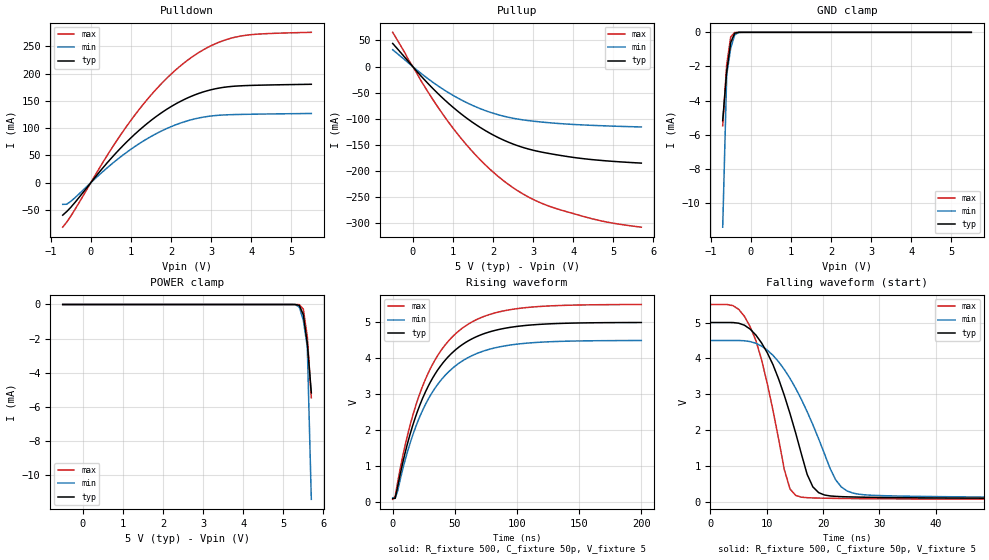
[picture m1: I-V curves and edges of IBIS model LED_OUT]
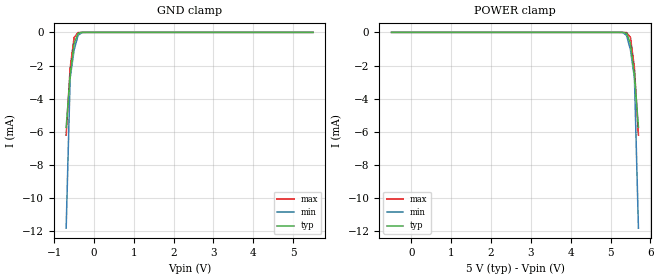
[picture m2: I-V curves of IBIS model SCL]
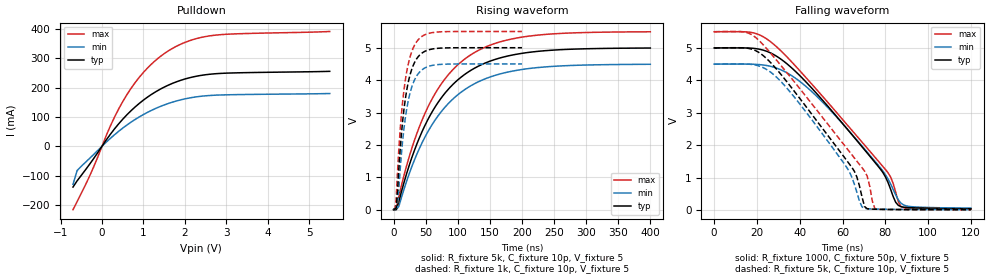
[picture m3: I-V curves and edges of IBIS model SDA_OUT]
|   NXP Semiconductors Inc.
|   IBIS model of PCA9685
[IBIS Ver]   3.2
[Comment Char]   |_char
[File name]   pca9685_5v.ibs
[File Rev]   1.0
[Date]   Nov 3, 2008 12:19:04 PM
[Source]
Generated by Seshadri Venkataramanan using IbisToolKit at Tempe, AZ
[Notes]
[Disclaimer]
(C) Copyright 2007 NXP Semiconductors
All rights reserved
NXP Semiconductors (NXP) does not warrant that this model and any other
accompanying information (Model) accurately or fully represents the
operating characteristics and specifications of the semiconductor
products to which the Model relates.  Moreover, the Model is furnished
on an "as is" and with "all faults" basis, and without support or
warranty of any kind.  NXP disclaims all warranties, whether expressed
or implied or statutory, including without limitation all implied
warranties of non-infringement, merchantability and fitness for any
purpose, and those arising from a course of dealing or usage of trade.
NXP does not convey any license under its or any third party's patents,
copyrights or other intellectual property or proprietary rights.
You and your company assume any and all risks and liability arising out
of the application or use of the Model.
In no event shall NXP be liable for any direct, indirect, special,
consequential or incidental damages, however caused, whether in
warranty, contract or tort (including negligence), strict liability or
other legal theory, including, without limitation, for lost profits,
business interruption, or corruption or loss of data or information,
arising out of or in connection with the use of or the inability to use
the Model, even if NXP has been advised of the possibility of such
damages.
NXP provides the Model as a courtesy to our customers. You and your
company shall not distribute, convey, sell, or give the Model to anyone
else without receiving prior written permission from NXP.
NXP reserves the right to make changes without notice to the Model to
improve reliability, function, or design.
Please be aware that your receipt and subsequent use of the Model shall
serve as acceptance of these terms and conditions.  If you do not
accept these terms, return or destroy the Model immediately.
[Copyright]
2008
[Component]   PCA9685PW
Si_location Pin
Timing_location Pin
[Manufacturer]   NXP Semiconductors
[Package]
R_pkg   1.82E-03   9.03E-04   3.6E-03
L_pkg   1.30E-09   4.84E-10   6.95E-09
C_pkg   6.66E-12   6.53E-12   6.80E-12
|  TSSOP28
[Pin] signal_name   model_name   R_pin   L_pin   C_pin
1   A0   INPUT_TTL   3.24E-03  2.45E-09  6.80E-12
2   A1   INPUT_TTL   2.68E-03  1.80E-09  6.79E-12
3   A2   INPUT_TTL   2.24E-03  1.22E-09  6.68E-12
4   A3   INPUT_TTL   1.40E-03  7.77E-10  6.58E-12
5   A4   INPUT_TTL   9.09E-04  4.88E-10  6.53E-12
6   LED0   LED_OUT   9.03E-04  4.84E-10  6.53E-12
7   LED1   LED_OUT   9.09E-04  4.88E-10  6.53E-12
8   LED2   LED_OUT   9.09E-04  4.88E-10  6.53E-12
9   LED3   LED_OUT   9.03E-04  4.84E-10  6.53E-12
10   LED4   LED_OUT   9.09E-04  4.88E-10  6.53E-12
11   LED5   LED_OUT   1.40E-03  7.77E-10  6.58E-12
12   LED6   LED_OUT   2.24E-03  1.22E-09  6.68E-12
13   LED7   LED_OUT   2.68E-03  1.80E-09  6.79E-12
14   VSS   GND   3.24E-03  2.45E-09  6.80E-12
15   LED8   LED_OUT   3.24E-03  2.45E-09  6.80E-12
16   LED9   LED_OUT   2.69E-03  1.80E-09  6.79E-12
17   LED10   LED_OUT   2.24E-03  1.22E-09  6.68E-12
18   LED11   LED_OUT   1.40E-03  7.78E-10  6.58E-12
19   LED12   LED_OUT   9.09E-04  4.88E-10  6.54E-12
20   LED13   LED_OUT   9.03E-04  4.84E-10  6.53E-12
21   LED14   LED_OUT   9.09E-04  4.88E-10  6.53E-12
22   LED15   LED_OUT   9.09E-04  4.88E-10  6.53E-12
23   OEbar   INPUT_TTL   9.03E-04  4.84E-10  6.53E-12
24   A5   INPUT_TTL   9.09E-04  4.88E-10  6.53E-12
25   EXTCLK   INPUT_TTL   1.40E-03  7.78E-10  6.58E-12
26   SCL   SCL   2.24E-03  1.22E-09  6.68E-12
27   SDA   SDA   2.69E-03  1.80E-09  6.79E-12
28   VDD   POWER   3.24E-03  2.45E-09  6.80E-12
[Define Package Model]  SOT788_1
[Manufacturer]  NXP APK
[OEM]  Unknown
[Description]  Simulated @ 100MHz / for application PCa9685
|[Simulated] Rason Lei
|[Approved] Wayne Nunn
[Number Of Pins]  30
[Pin Numbers]
|Pin Num   Terminal Name
1   | Lead1:Pin1
2   | Lead2:Pin2
3   | Lead3:Pin3
4   | Lead4:Pin4
5   | Lead5:Pin5
6   | Lead6:Pin6
7   | Lead7:Pin7
8   | Lead8:Pin8
9   | Lead9:Pin9
10   | Lead10:Pin10
11   | Lead11:Pin11
12   | Lead11:Pin12
13   | Lead12:Pin13
14   | Lead13:Pin14
15   | Lead14:Pin15
16   | Lead15:Pin16
17   | Lead16:Pin17
18   | Lead17:Pin18
19   | Lead18:Pin19
20   | Lead19:Pin20
21   | Lead20:Pin21
22   | Lead21:Pin22
23   | Lead22:Pin23
24   | Lead23:Pin24
25   | Lead24:Pin25
26   | Lead25:Pin26
27   | Lead25:Pin27
28   | Lead26:Pin28
29   | Lead27:Pin29
30   | Lead28:Pin30
[Model Data]
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[End Model Data]
[End Package Model]
[Model Selector]   SDA
SDA_IN   SDA as an Input
SDA_OUT   SDA as output
| Models and submodels in the file (5): LED_OUT (I/O), SCL (Input), SDA_OUT (Open_drain), INPUT_TTL (Input), SDA_IN (Input)
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|   LED
[Model]   LED_OUT
Model_type I/O
Enable Active-Low
Polarity Non-Inverting
Vinh=3.5
Vinl=1.5
Vref=5
Vmeas=2.5
Rref=500
Cref=50p
C_comp   3.2p   3p   3.4p
[Temperature Range] 27   85   -40
[Voltage Range]   5   4.5   5.5
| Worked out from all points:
|   slope of the pulldown table from 0 to 0.75 V, typ, clamps not added: 11.7 ohm
|   slope of the pullup table from 0 to 0.75 V, typ, clamps not added: 12.4 ohm
|   GND clamp passes 1 mA (typ) near -0.52 V on its own axis
|   falling waveform, R_fixture 500, C_fixture 50p, V_fixture 5: 20-80 % time 6.09ns typ, 7.69ns min, 4.58ns max; typ from 5 V to 0.108 V
|   rising waveform, R_fixture 500, C_fixture 50p, V_fixture 5: 20-80 % time 36ns typ, 36.2ns min, 35.8ns max; typ from 0.106 V to 5 V
[Pullup]
-500mV    44.18mA    32.2mA     65.47mA
300mV     -25.86mA   -18.61mA   -38.77mA
600mV     -49.51mA   -35.37mA   -74.42mA
900mV     -70.93mA   -50.28mA   -107.1mA
1.5V      -107.1mA   -74.54mA   -163.5mA
1.8V      -121.9mA   -83.9mA    -187.2mA
2.2V      -138.3mA   -93.54mA   -214.4mA
2.8V      -155.8mA   -102.5mA   -245.8mA
3.1V      -161.7mA   -105.2mA   -257.5mA
3.5V      -167.5mA   -108mA     -269.5mA
4.6V      -178.8mA   -112.8mA   -293.3mA
5.7V      -184.6mA   -115.5mA   -307mA
[Pulldown]
-700mV    -59.41mA   -39.6mA    -81.39mA
-600mV    -52.83mA   -39.38mA   -72.19mA
-500mV    -45.19mA   -34.23mA   -61.45mA
400mV     35.73mA    26.75mA    48.98mA
1V        82.21mA    61.32mA    114.3mA
1.7V      125mA      92.53mA    176.8mA
2.3V      151.5mA    111mA      218mA
2.9V      168.5mA    121.4mA    247.4mA
3.2V      173.5mA    123.7mA    257.6mA
3.6V      177mA      125mA      266.8mA
4.2V      178.8mA    125.8mA    272.5mA
5.5V      180.5mA    127mA      275.7mA
[GND Clamp]
-700mV    -5.178mA   -11.42mA   -5.473mA
-600mV    -2.292mA   -2.487mA   -1.883mA
-500mV    -594.6uA   -920.9uA   -266.8uA
-400mV    -51.49uA   -148.2uA   -7.79uA
-300mV    -1.41uA    -7.234uA   -85.9nA
-200mV    -24.93nA   -185.3nA   -923.4pA
5.5V      197.6pA    595.8pA    140.5pA
[POWER Clamp]
-500mV    197.6pA    595.8pA    140.5pA
5.2V      -24.93nA   -185.3nA   -923.4pA
5.3V      -1.41uA    -7.234uA   -85.9nA
5.4V      -51.49uA   -148.2uA   -7.79uA
5.5V      -594.6uA   -920.9uA   -266.8uA
5.6V      -2.292mA   -2.487mA   -1.883mA
5.7V      -5.178mA   -11.42mA   -5.473mA
[Falling Waveform]
R_fixture=500
C_fixture=50p
V_fixture=5
V_fixture_min=4.5
V_fixture_max=5.5
0s        5V         4.5V       5.5V
4.04ns    4.999V     4.5V       5.468V
7.071ns   4.816V     4.469V     4.882V
11.11ns   3.831V     4.088V     2.564V
13.13ns   2.971V     3.693V     910mV
15.15ns   1.922V     3.168V     195.2mV
18.18ns   433.5mV    2.162V     125.6mV
22.22ns   168.5mV    630.2mV    112.8mV
25.25ns   152.1mV    261.5mV    107.2mV
100ns     107.9mV    130.7mV    86.67mV
[Rising Waveform]
R_fixture=500
C_fixture=50p
V_fixture=5
V_fixture_min=4.5
V_fixture_max=5.5
0s        105.8mV    126.4mV    85.72mV
2.02ns    114.1mV    123.2mV    174.1mV
8.081ns   1.103V     923.2mV    1.287V
14.14ns   1.914V     1.663V     2.168V
24.24ns   2.907V     2.572V     3.246V
38.38ns   3.785V     3.377V     4.195V
54.55ns   4.347V     3.895V     4.801V
72.73ns   4.677V     4.2V       5.156V
98.99ns   4.884V     4.391V     5.377V
200ns     4.997V     4.497V     5.497V
[Ramp]
R_load=500
dV/dt_r   2.931E+0/2.807E-9   2.614E+0/3.854E-9   3.250E+0/2.052E-9
dV/dt_f   2.935E+0/3.003E-9   2.622E+0/4.630E-9   3.248E+0/1.852E-9
|[End   LED_OUT
[Model]   SCL
Model_type Input
Vinh=3.5
Vinl=1.75
C_comp   1.7p   1.6p   1.8p
[Temperature Range] 27   85   -40
[Voltage Range]   5   4.5   5.5
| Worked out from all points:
|   GND clamp passes 1 mA (typ) near -0.52 V on its own axis
[GND Clamp]
-700mV    -5.728mA   -11.81mA   -6.202mA
-600mV    -2.616mA   -2.756mA   -2.153mA
-500mV    -682.1uA   -1.055mA   -306.8uA
-400mV    -59.38uA   -170.1uA   -9.031uA
-300mV    -1.654uA   -8.377uA   -100.6nA
-200mV    -29.62nA   -217.9nA   -873.5pA
5.5V      166.2pA    483pA      127.8pA
[POWER Clamp]
-500mV    166.2pA    483pA      127.8pA
5.2V      -29.62nA   -217.9nA   -873.5pA
5.3V      -1.654uA   -8.377uA   -100.6nA
5.4V      -59.38uA   -170.1uA   -9.031uA
5.5V      -682.1uA   -1.055mA   -306.8uA
5.6V      -2.616mA   -2.756mA   -2.153mA
5.7V      -5.728mA   -11.81mA   -6.202mA
[Model]   SDA_OUT
Model_type Open_drain
Vref=3.5
Vmeas=1.75
Rref=1000
Cref=10p
C_comp   3.1p   3p   3.3p
[Temperature Range] 27   85   -40
[Voltage Range]   5   4.5   5.5
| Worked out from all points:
|   slope of the pulldown table from 0 to 0.75 V, typ, clamps not added: 5.88 ohm
|   falling waveform, R_fixture 1000, C_fixture 50p, V_fixture 5: 20-80 % time 37.9ns typ, 35.1ns min, 43ns max; typ from 5 V to 0.036 V
|   falling waveform, R_fixture 5k, C_fixture 10p, V_fixture 5: 20-80 % time 33.3ns typ, 28.9ns min, 39.1ns max; typ from 5 V to 0.007 V
|   rising waveform, R_fixture 5k, C_fixture 10p, V_fixture 5: 20-80 % time 80.7ns typ, 82.2ns min, 79.1ns max; typ from 0.005 V to 4.99 V
|   rising waveform, R_fixture 1k, C_fixture 10p, V_fixture 5: 20-80 % time 16.2ns typ, 16.5ns min, 15.9ns max; typ from 0.023 V to 5 V
[Pulldown]
-700mV    -138.9mA   -129.5mA   -216.2mA
-600mV    -117.6mA   -82.64mA   -188.4mA
-200mV    -41.6mA    -27.72mA   -69.88mA
200mV     40.47mA    26.71mA    68.47mA
500mV     92.1mA     61.87mA    152mA
700mV     121.1mA    82.16mA    197.1mA
1V        157.3mA    108.2mA    251.7mA
1.5V      201.5mA    140.8mA    315.4mA
2V        229.2mA    161.5mA    353.8mA
2.6V      245.5mA    173.1mA    376.2mA
3.2V      250.1mA    176mA      383mA
5.5V      255.4mA    179.8mA    391.2mA
[Falling Waveform]
R_fixture=1000
C_fixture=50p
V_fixture=5
V_fixture_min=4.5
V_fixture_max=5.5
0s        5V         4.5V       5.5V
20.61ns   4.967V     4.488V     5.419V
29.09ns   4.747V     4.379V     5.041V
38.79ns   4.226V     4.028V     4.386V
56.97ns   2.905V     2.886V     3.026V
77.58ns   1.269V     1.309V     1.439V
81.21ns   853.5mV    958.9mV    1.151V
84.85ns   235.3mV    460.2mV    544.6mV
87.27ns   101.8mV    210.3mV    107.8mV
120ns     36.29mV    53.05mV    22.5mV
[Falling Waveform]
R_fixture=5k
C_fixture=10p
V_fixture=5
V_fixture_min=4.5
V_fixture_max=5.5
0s        5V         4.5V       5.5V
16.97ns   4.973V     4.495V     5.431V
29.09ns   4.35V      4.101V     4.626V
55.76ns   2.069V     1.883V     2.425V
65.45ns   1.201V     808.8mV    1.609V
67.88ns   748.6mV    278mV      1.406V
70.3ns    103.8mV    46.1mV     1.198V
71.52ns   35.83mV    35.66mV    1.043V
75.15ns   20.76mV    26.1mV     32.39mV
120ns     6.736mV    9.687mV    4.213mV
[Rising Waveform]
R_fixture=5k
C_fixture=10p
V_fixture=5
V_fixture_min=4.5
V_fixture_max=5.5
0s        4.677mV    6.46mV     2.986mV
4.04ns    6.145mV    5.338mV    50.11mV
8.081ns   245.3mV    100.9mV    404.3mV
28.28ns   1.602V     1.325V     1.89V
52.53ns   2.748V     2.376V     3.13V
80.81ns   3.615V     3.181V     4.057V
117.2ns   4.261V     3.788V     4.739V
157.6ns   4.634V     4.143V     5.128V
210.1ns   4.853V     4.355V     5.354V
400ns     4.989V     4.488V     5.49V
[Rising Waveform]
R_fixture=1k
C_fixture=10p
V_fixture=5
V_fixture_min=4.5
V_fixture_max=5.5
0s        23.37mV    32.22mV    14.93mV
2.02ns    23.68mV    31.43mV    16.44mV
4.04ns    54.11mV    45.29mV    334.2mV
6.061ns   538mV      115.4mV    1.146V
12.12ns   2.315V     1.704V     2.919V
18.18ns   3.402V     2.814V     3.982V
26.26ns   4.205V     3.649V     4.755V
36.36ns   4.669V     4.14V      5.195V
66.67ns   4.976V     4.473V     5.479V
200ns     4.999V     4.499V     5.499V
[Ramp]
R_load=1k
dV/dt_r   2.985E+0/2.441E-9   2.978E+0/2.804E-9   2.992E+0/2.133E-9
dV/dt_f   2.980E+0/3.801E-8   2.965E+0/3.875E-8   2.989E+0/3.879E-8
|[End   SDA_OUT
